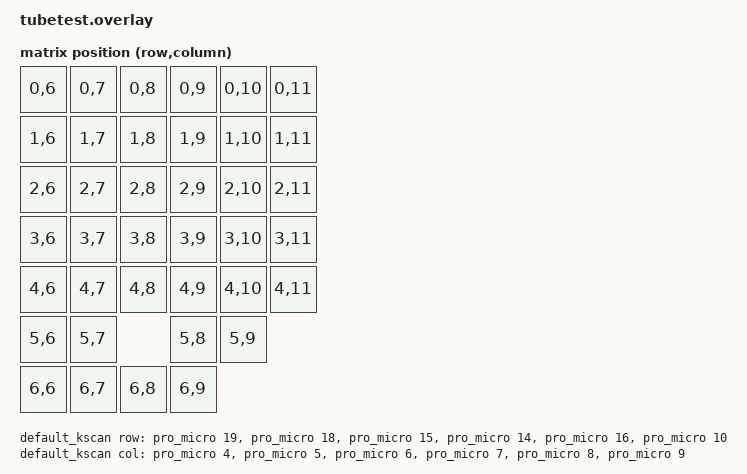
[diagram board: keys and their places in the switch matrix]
#include <dt-bindings/zmk/matrix_transform.h>


/ {
chosen {
	zmk,kscan = &default_kscan;
	zmk,matrix_transform = &default_transform;
};

default_kscan: kscan {
	compatible = "zmk,kscan-gpio-matrix";
	label = "default_kscan";
	diode-direction = "row2col";

	row-gpios = <&pro_micro 19 (GPIO_ACTIVE_HIGH | GPIO_PULL_DOWN)>,
		    <&pro_micro 18 (GPIO_ACTIVE_HIGH | GPIO_PULL_DOWN)>,
		    <&pro_micro 15 (GPIO_ACTIVE_HIGH | GPIO_PULL_DOWN)>,
		    <&pro_micro 14 (GPIO_ACTIVE_HIGH | GPIO_PULL_DOWN)>,
		    <&pro_micro 16 (GPIO_ACTIVE_HIGH | GPIO_PULL_DOWN)>,
		    <&pro_micro 10 (GPIO_ACTIVE_HIGH | GPIO_PULL_DOWN)>;

	col-gpios = <&pro_micro 4 GPIO_ACTIVE_HIGH>,
		    <&pro_micro 5 GPIO_ACTIVE_HIGH>,
                    <&pro_micro 6 GPIO_ACTIVE_HIGH>,
		    <&pro_micro 7 GPIO_ACTIVE_HIGH>,
		    <&pro_micro 8 GPIO_ACTIVE_HIGH>,
                    <&pro_micro 9 GPIO_ACTIVE_HIGH>;
			

};

default_transform: matrix_transform {
	compatible = "zmk,matrix-transform";
	rows = <7>;
	columns = <7>;

	map = <	    
	RC(0,6) RC(0,7) RC(0,8) RC(0,9) RC(0,10) RC(0,11) 
	RC(1,6) RC(1,7) RC(1,8) RC(1,9) RC(1,10) RC(1,11) 
	RC(2,6) RC(2,7) RC(2,8) RC(2,9) RC(2,10) RC(2,11) 
	RC(3,6) RC(3,7) RC(3,8) RC(3,9) RC(3,10) RC(3,11) 
	RC(4,6) RC(4,7) RC(4,8) RC(4,9) RC(4,10) RC(4,11) 
      RC(5,6) RC(5,7)     RC(5,8) RC(5,9)
      RC(6,6) RC(6,7) RC(6,8) RC(6,9)
>;
};
};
